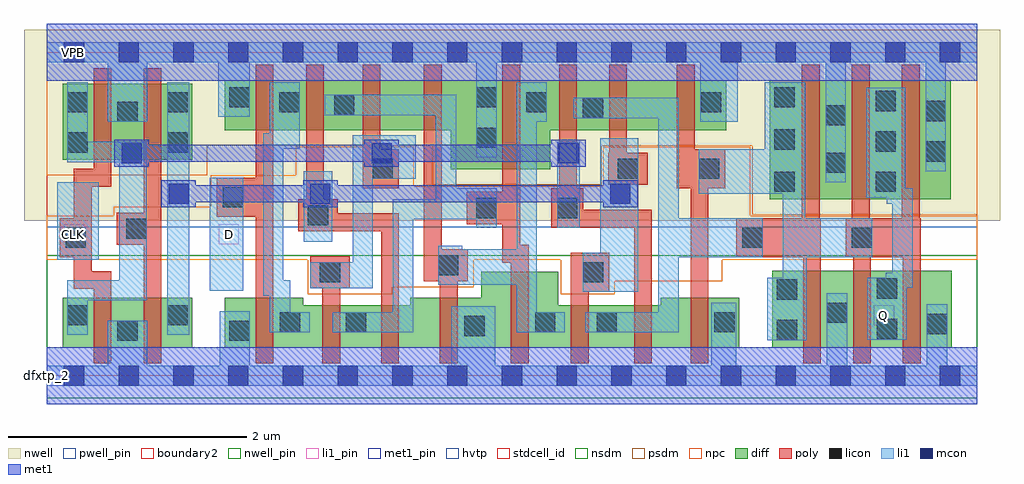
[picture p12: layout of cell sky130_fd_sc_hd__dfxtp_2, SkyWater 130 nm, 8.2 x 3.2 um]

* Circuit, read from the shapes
.subckt sky130_fd_sc_hd__dfxtp_2 CLK D Q VGND VNB VPB VPWR
XM1 VGND CLK n1 VNB sky130_fd_pr__nfet_01v8 w=0.42 l=0.15
XM2 n2 n1 VGND VNB sky130_fd_pr__nfet_01v8 w=0.42 l=0.15
XM3 n3 D VGND VNB sky130_fd_pr__nfet_01v8 w=0.42 l=0.15
XM4 n4 n1 n3 VNB sky130_fd_pr__nfet_01v8 w=0.36 l=0.15
XM5 n5 n2 n4 VNB sky130_fd_pr__nfet_01v8 w=0.36 l=0.15
XM6 VGND n6 n5 VNB sky130_fd_pr__nfet_01v8 w=0.42 l=0.15
XM7 n6 n4 VGND VNB sky130_fd_pr__nfet_01v8 w=0.64 l=0.15
XM8 n7 n2 n6 VNB sky130_fd_pr__nfet_01v8 w=0.36 l=0.15
XM9 n8 n1 n7 VNB sky130_fd_pr__nfet_01v8 w=0.36 l=0.15
XM10 VGND n9 n8 VNB sky130_fd_pr__nfet_01v8 w=0.42 l=0.15
XM11 VGND n7 n9 VNB sky130_fd_pr__nfet_01v8 w=0.65 l=0.15
XM12 Q n9 VGND VNB sky130_fd_pr__nfet_01v8 w=0.65 l=0.15 m=2
XM13 VPWR CLK n1 VPB sky130_fd_pr__pfet_01v8_hvt w=0.64 l=0.15
XM14 n2 n1 VPWR VPB sky130_fd_pr__pfet_01v8_hvt w=0.64 l=0.15
XM15 n3 D VPWR VPB sky130_fd_pr__pfet_01v8_hvt w=0.42 l=0.15
XM16 n4 n2 n3 VPB sky130_fd_pr__pfet_01v8_hvt w=0.42 l=0.15
XM17 n10 n1 n4 VPB sky130_fd_pr__pfet_01v8_hvt w=0.42 l=0.15
XM18 VPWR n6 n10 VPB sky130_fd_pr__pfet_01v8_hvt w=0.42 l=0.15
XM19 n6 n4 VPWR VPB sky130_fd_pr__pfet_01v8_hvt w=0.75 l=0.15
XM20 n7 n1 n6 VPB sky130_fd_pr__pfet_01v8_hvt w=0.42 l=0.15
XM21 n11 n2 n7 VPB sky130_fd_pr__pfet_01v8_hvt w=0.42 l=0.15
XM22 VPWR n9 n11 VPB sky130_fd_pr__pfet_01v8_hvt w=0.42 l=0.15
XM23 VPWR n7 n9 VPB sky130_fd_pr__pfet_01v8_hvt w=1 l=0.15
XM24 Q n9 VPWR VPB sky130_fd_pr__pfet_01v8_hvt w=1 l=0.15 m=2
.ends

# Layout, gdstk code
import gdstk
lib = gdstk.Library(unit=1e-6, precision=1e-09)
def R(c, l, rs):  # rectangles x0, y0, x1, y1
    for r in rs: c.add(gdstk.rectangle(r[:2], r[2:], *l))
def A(c, l, x, y, w, h, nx, ny, dx, dy):  # array of equal rectangles
    R(c, l, [(x+i*dx, y+j*dy, x+i*dx+w, y+j*dy+h) for i in range(nx) for j in range(ny)])
def P(c, l, *ps):  # polygons
    for p in ps: c.add(gdstk.Polygon(p, *l))
nwell_pin = (64, 16)
nwell = (64, 20)
diff = (65, 20)
poly = (66, 20)
licon = (66, 44)
li1_pin = (67, 16)
li1 = (67, 20)
mcon = (67, 44)
met1_pin = (68, 16)
met1 = (68, 20)
hvtp = (78, 44)
stdcell_id = (81, 4)
nsdm = (93, 44)
psdm = (94, 20)
npc = (95, 20)
pwell_pin = (122, 16)
boundary2 = (236, 0)

sky130_fd_sc_hd__dfxtp_2 = lib.new_cell('sky130_fd_sc_hd__dfxtp_2')
R(sky130_fd_sc_hd__dfxtp_2, nwell_pin, [(0.145,2.635,0.315,2.805), (0.145,2.635,0.315,2.805)])
R(sky130_fd_sc_hd__dfxtp_2, nwell, [(-0.19,1.305,8.01,2.91)])
R(sky130_fd_sc_hd__dfxtp_2, diff, [(0.135,0.235,1.225,0.655), (6.095,0.235,7.605,0.885), (6.075,1.485,7.595,2.485), (0.135,1.815,1.225,2.455)])
P(sky130_fd_sc_hd__dfxtp_2, diff, [(5.71,2.485),(1.495,2.485),(1.495,2.065),(3.395,2.065),(3.395,1.735),(4.23,1.735),(4.23,2.065),(5.71,2.065)],
  [(5.82,0.655),(5.16,0.655),(5.16,0.595),(4.3,0.595),(4.3,0.875),(3.65,0.875),(3.65,0.655),(3.055,0.655),(3.055,0.595),(2.155,0.595),(2.155,0.655),(1.495,0.655),(1.495,0.235),(5.82,0.235)])
P(sky130_fd_sc_hd__dfxtp_2, poly, [(7.345,1.325),(7.335,1.325),(7.335,2.615),(7.185,2.615),(7.185,1.325),(6.915,1.325),(6.915,2.615),(6.765,2.615),(6.765,1.325),(6.715,1.325),(6.715,0.995),(6.775,0.995),(6.775,0.105),(6.925,0.105),(6.925,0.995),(7.195,0.995),(7.195,0.105),(7.345,0.105)],
  [(0.545,0.88),(0.38,0.88),(0.38,1.59),(0.545,1.59),(0.545,2.585),(0.395,2.585),(0.395,1.74),(0.23,1.74),(0.23,1.325),(0.11,1.325),(0.11,0.995),(0.23,0.995),(0.23,0.73),(0.395,0.73),(0.395,0.105),(0.545,0.105)],
  [(0.965,2.585),(0.815,2.585),(0.815,1.37),(0.59,1.37),(0.59,1.1),(0.815,1.1),(0.815,0.105),(0.965,0.105)],
  [(1.905,2.615),(1.755,2.615),(1.755,1.665),(1.43,1.665),(1.43,1.335),(1.755,1.335),(1.755,0.105),(1.905,0.105)],
  [(2.545,1.005),(2.215,1.005),(2.215,0.735),(2.315,0.735),(2.315,0.105),(2.465,0.105),(2.465,0.735),(2.545,0.735)],
  [(2.96,1.905),(2.805,1.905),(2.805,2.615),(2.655,2.615),(2.655,1.575),(2.96,1.575)],
  [(2.96,1.365),(2.445,1.365),(2.445,1.485),(2.33,1.485),(2.33,2.615),(2.18,2.615),(2.18,1.485),(2.115,1.485),(2.115,1.215),(2.81,1.215),(2.81,0.105),(2.96,0.105)],
  [(3.54,1.065),(3.32,1.065),(3.32,2.615),(3.17,2.615),(3.17,0.795),(3.305,0.795),(3.305,0.105),(3.455,0.105),(3.455,0.795),(3.54,0.795)],
  [(4.05,1.1),(3.98,1.1),(3.98,2.615),(3.83,2.615),(3.83,1.545),(3.53,1.545),(3.53,1.275),(3.83,1.275),(3.83,0.95),(3.9,0.95),(3.9,0.105),(4.05,0.105)],
  [(4.725,1.035),(4.405,1.035),(4.405,0.105),(4.555,0.105),(4.555,0.705),(4.725,0.705)],
  [(5.05,1.875),(4.875,1.875),(4.875,2.615),(4.725,2.615),(4.725,1.875),(4.72,1.875),(4.72,1.605),(5.05,1.605)],
  [(5.085,1.395),(4.51,1.395),(4.51,1.575),(4.455,1.575),(4.455,2.615),(4.305,2.615),(4.305,1.575),(4.24,1.575),(4.24,1.245),(4.935,1.245),(4.935,0.105),(5.085,0.105)],
  [(5.7,1.905),(5.445,1.905),(5.445,2.615),(5.295,2.615),(5.295,1.575),(5.41,1.575),(5.41,0.105),(5.56,0.105),(5.56,1.575),(5.7,1.575)],
  [(6.505,1.325),(6.495,1.325),(6.495,2.615),(6.345,2.615),(6.345,1.325),(5.795,1.325),(5.795,0.995),(6.355,0.995),(6.355,0.105),(6.505,0.105)])
A(sky130_fd_sc_hd__dfxtp_2, licon, 6.115, 1.545, 0.17, 0.17, 1, 3, 0, 0.355)
A(sky130_fd_sc_hd__dfxtp_2, licon, 6.965, 1.545, 0.17, 0.17, 1, 3, 0, 0.34)
R(sky130_fd_sc_hd__dfxtp_2, licon, [(0.595,0.295,0.765,0.465), (1.535,0.295,1.705,0.465), (6.135,0.3,6.305,0.47), (6.975,0.31,7.145,0.48), (3.51,0.335,3.68,0.505), (7.395,0.35,7.565,0.52), (1.96,0.365,2.13,0.535), (2.515,0.365,2.685,0.535), (4.105,0.365,4.275,0.535), (4.62,0.365,4.79,0.535), (5.61,0.365,5.78,0.535), (0.175,0.425,0.345,0.595), (1.015,0.425,1.185,0.595), (6.555,0.445,6.725,0.615), (6.135,0.64,6.305,0.81), (6.975,0.65,7.145,0.82), (2.295,0.785,2.465,0.955), (4.505,0.785,4.675,0.955), (3.29,0.845,3.46,1.015), (0.16,1.075,0.33,1.245), (5.845,1.075,6.015,1.245), (6.765,1.075,6.935,1.245), (0.67,1.15,0.84,1.32), (2.195,1.265,2.365,1.435), (3.61,1.325,3.78,1.495), (4.29,1.325,4.46,1.495), (1.48,1.415,1.65,1.585), (2.74,1.655,2.91,1.825), (4.8,1.655,4.97,1.825), (5.48,1.655,5.65,1.825), (6.545,1.705,6.715,1.875), (7.385,1.8,7.555,1.97), (0.175,1.875,0.345,2.045), (1.015,1.875,1.185,2.045), (3.61,1.915,3.78,2.085), (6.545,2.105,6.715,2.275), (0.595,2.135,0.765,2.305), (7.385,2.14,7.555,2.31), (4.505,2.165,4.675,2.335), (2.415,2.19,2.585,2.36), (0.175,2.215,0.345,2.385), (1.015,2.215,1.185,2.385), (1.955,2.215,2.125,2.385), (4.03,2.215,4.2,2.385), (5.5,2.215,5.67,2.385), (1.535,2.255,1.705,2.425), (3.61,2.255,3.78,2.425)])
R(sky130_fd_sc_hd__dfxtp_2, li1_pin, [(6.95,0.425,7.12,0.595), (0.145,1.105,0.315,1.275), (1.445,1.105,1.615,1.275)])
R(sky130_fd_sc_hd__dfxtp_2, li1, [(1.015,0.345,1.2,2.465), (1.37,0.715,1.65,1.665), (0.09,0.975,0.44,1.625), (2.16,1.125,2.4,1.72), (4.29,1.245,4.48,1.965)])
P(sky130_fd_sc_hd__dfxtp_2, li1, [(0.84,1.965),(0.345,1.965),(0.345,2.465),(0.175,2.465),(0.175,1.795),(0.61,1.795),(0.61,0.805),(0.175,0.805),(0.175,0.345),(0.345,0.345),(0.345,0.635),(0.84,0.635)],
  [(2.21,0.535),(2.045,0.535),(2.045,0.805),(1.99,0.805),(1.99,1.91),(2.125,1.91),(2.125,2.465),(1.875,2.465),(1.875,2.04),(1.82,2.04),(1.82,0.675),(1.875,0.675),(1.875,0.365),(2.21,0.365)],
  [(3.1,2.02),(2.57,2.02),(2.57,0.955),(2.215,0.955),(2.215,0.735),(2.74,0.735),(2.74,1.655),(3.1,1.655)],
  [(3.78,1.575),(3.44,1.575),(3.44,2.36),(2.335,2.36),(2.335,2.19),(3.27,2.19),(3.27,1.485),(2.91,1.485),(2.91,0.535),(2.405,0.535),(2.405,0.365),(3.08,0.365),(3.08,1.315),(3.61,1.315),(3.61,1.245),(3.78,1.245)],
  [(4.355,0.535),(4.12,0.535),(4.12,2.135),(4.2,2.135),(4.2,2.465),(3.95,2.465),(3.95,1.065),(3.49,1.065),(3.49,1.095),(3.29,1.095),(3.29,0.765),(3.95,0.765),(3.95,0.365),(4.355,0.365)],
  [(4.97,1.995),(4.65,1.995),(4.65,1.035),(4.505,1.035),(4.505,0.705),(4.97,0.705)],
  [(6.015,1.325),(5.31,1.325),(5.31,2.335),(4.425,2.335),(4.425,2.165),(5.14,2.165),(5.14,0.535),(4.525,0.535),(4.525,0.365),(5.31,0.365),(5.31,0.995),(6.015,0.995)],
  [(6.935,1.325),(6.375,1.325),(6.375,2.465),(6.035,2.465),(6.035,1.905),(5.48,1.905),(5.48,1.53),(6.185,1.53),(6.185,0.825),(6.055,0.825),(6.055,0.3),(6.385,0.3),(6.385,0.995),(6.935,0.995)],
  [(7.275,1.575),(7.215,1.575),(7.215,2.42),(6.885,2.42),(6.885,1.495),(7.06,1.495),(7.06,1.445),(7.105,1.445),(7.105,0.865),(7.05,0.865),(7.05,0.825),(6.895,0.825),(6.895,0.305),(7.225,0.305),(7.225,0.74),(7.275,0.74)],
  [(7.82,2.805),(0,2.805),(0,2.635),(0.515,2.635),(0.515,2.135),(0.845,2.135),(0.845,2.635),(1.44,2.635),(1.44,2.175),(1.705,2.175),(1.705,2.635),(3.61,2.635),(3.61,1.835),(3.78,1.835),(3.78,2.635),(5.49,2.635),(5.49,2.135),(5.805,2.135),(5.805,2.635),(6.545,2.635),(6.545,1.625),(6.715,1.625),(6.715,2.635),(7.385,2.635),(7.385,1.72),(7.555,1.72),(7.555,2.635),(7.82,2.635)],
  [(7.82,0.085),(7.565,0.085),(7.565,0.6),(7.395,0.6),(7.395,0.085),(6.725,0.085),(6.725,0.695),(6.555,0.695),(6.555,0.085),(5.795,0.085),(5.795,0.615),(5.585,0.615),(5.585,0.085),(3.77,0.085),(3.77,0.585),(3.4,0.585),(3.4,0.085),(1.705,0.085),(1.705,0.545),(1.455,0.545),(1.455,0.085),(0.845,0.085),(0.845,0.465),(0.515,0.465),(0.515,0.085),(0,0.085),(0,-0.085),(7.82,-0.085)])
A(sky130_fd_sc_hd__dfxtp_2, mcon, 0.145, -0.085, 0.17, 0.17, 17, 2, 0.46, 2.72)
R(sky130_fd_sc_hd__dfxtp_2, mcon, [(1.025,1.445,1.195,1.615), (2.215,1.445,2.385,1.615), (4.735,1.445,4.905,1.615), (0.63,1.785,0.8,1.955), (2.73,1.785,2.9,1.955), (4.3,1.785,4.47,1.955)])
R(sky130_fd_sc_hd__dfxtp_2, met1_pin, [(0.145,-0.085,0.315,0.085), (0.145,2.635,0.315,2.805)])
R(sky130_fd_sc_hd__dfxtp_2, met1, [(0,-0.24,7.82,0.24), (0,2.48,7.82,2.96)])
P(sky130_fd_sc_hd__dfxtp_2, met1, [(4.965,1.645),(4.675,1.645),(4.675,1.6),(2.445,1.6),(2.445,1.645),(2.155,1.645),(2.155,1.6),(1.255,1.6),(1.255,1.645),(0.965,1.645),(0.965,1.415),(1.255,1.415),(1.255,1.46),(2.155,1.46),(2.155,1.415),(2.445,1.415),(2.445,1.46),(4.675,1.46),(4.675,1.415),(4.965,1.415)],
  [(4.53,1.985),(4.24,1.985),(4.24,1.94),(2.96,1.94),(2.96,1.985),(2.67,1.985),(2.67,1.94),(0.86,1.94),(0.86,1.985),(0.57,1.985),(0.57,1.755),(0.86,1.755),(0.86,1.8),(2.67,1.8),(2.67,1.755),(2.96,1.755),(2.96,1.8),(4.24,1.8),(4.24,1.755),(4.53,1.755)])
R(sky130_fd_sc_hd__dfxtp_2, hvtp, [(0,1.25,7.82,2.72)])
R(sky130_fd_sc_hd__dfxtp_2, stdcell_id, [(0,0,7.82,2.72)])
R(sky130_fd_sc_hd__dfxtp_2, nsdm, [(0,-0.19,7.82,1.015)])
P(sky130_fd_sc_hd__dfxtp_2, psdm, [(7.82,2.91),(0,2.91),(0,1.685),(1.35,1.685),(1.35,1.935),(3.24,1.935),(3.24,1.605),(4.665,1.605),(4.665,1.935),(5.93,1.935),(5.93,1.355),(7.82,1.355)])
P(sky130_fd_sc_hd__dfxtp_2, npc, [(7.82,1.345),(5.91,1.345),(5.91,1.925),(4.675,1.925),(4.675,1.595),(3.085,1.595),(3.085,1.925),(2.095,1.925),(2.095,1.685),(1.38,1.685),(1.38,1.42),(0.565,1.42),(0.565,1.345),(0,1.345),(0,0.975),(2.195,0.975),(2.195,0.685),(2.905,0.685),(2.905,0.745),(3.59,0.745),(3.59,0.975),(4.32,0.975),(4.32,0.685),(4.775,0.685),(4.775,0.795),(5.675,0.795),(5.675,0.975),(7.82,0.975)])
R(sky130_fd_sc_hd__dfxtp_2, pwell_pin, [(0.145,-0.085,0.315,0.085), (0.145,-0.085,0.315,0.085)])
R(sky130_fd_sc_hd__dfxtp_2, boundary2, [(0,0,7.82,2.72)])
sky130_fd_sc_hd__dfxtp_2.add(gdstk.Label('dfxtp_2', (0,0), layer=83, texttype=44))
sky130_fd_sc_hd__dfxtp_2.add(gdstk.Label('VPB', (0.23,2.72), layer=64, texttype=5))
sky130_fd_sc_hd__dfxtp_2.add(gdstk.Label('VPB', (0.23,2.72), layer=64, texttype=5))
sky130_fd_sc_hd__dfxtp_2.add(gdstk.Label('VNB', (0.23,0), layer=64, texttype=59))
sky130_fd_sc_hd__dfxtp_2.add(gdstk.Label('VNB', (0.23,0), layer=64, texttype=59))
sky130_fd_sc_hd__dfxtp_2.add(gdstk.Label('Q', (7.035,0.51), layer=67, texttype=5))
sky130_fd_sc_hd__dfxtp_2.add(gdstk.Label('CLK', (0.23,1.19), layer=67, texttype=5))
sky130_fd_sc_hd__dfxtp_2.add(gdstk.Label('D', (1.535,1.19), layer=67, texttype=5))
sky130_fd_sc_hd__dfxtp_2.add(gdstk.Label('VPWR', (0.23,2.72), layer=68, texttype=5))
sky130_fd_sc_hd__dfxtp_2.add(gdstk.Label('VGND', (0.23,0), layer=68, texttype=5))

lib.write_gds('sky130_fd_sc_hd__dfxtp_2.gds')
